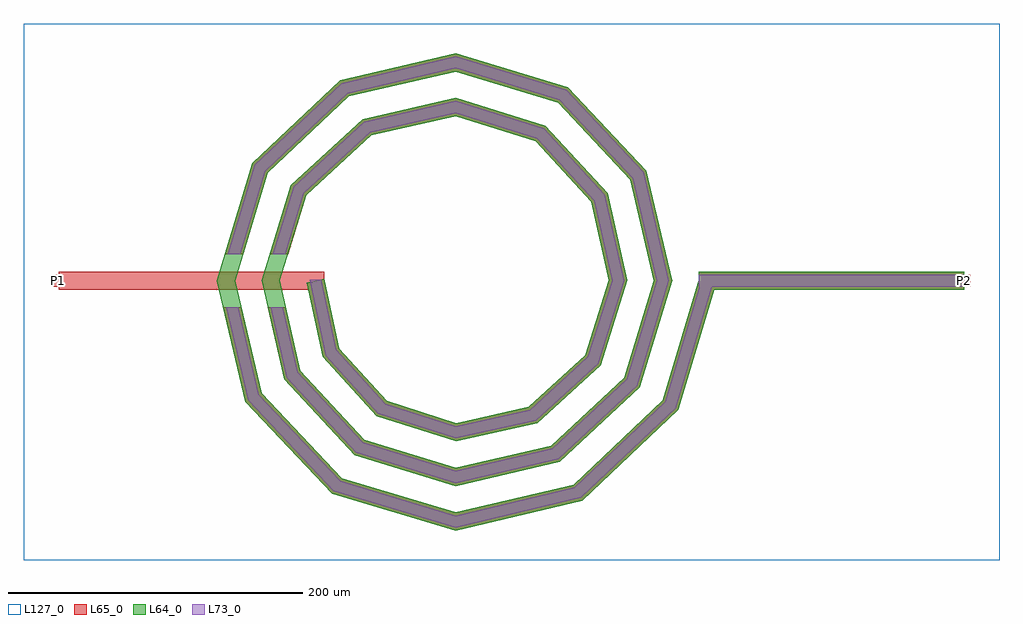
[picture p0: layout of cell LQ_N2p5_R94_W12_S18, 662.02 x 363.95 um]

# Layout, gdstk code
import gdstk
lib = gdstk.Library(unit=1e-6, precision=1e-09)
def R(c, l, rs):  # rectangles x0, y0, x1, y1
    for r in rs: c.add(gdstk.rectangle(r[:2], r[2:], *l))
def P(c, l, *ps):  # polygons
    for p in ps: c.add(gdstk.Polygon(p, *l))
L64_0 = (64, 0)
L65_0 = (65, 0)
L73_0 = (73, 0)
L127_0 = (127, 0)

lq_n2p5_r94_w12_s18 = lib.new_cell('LQ_N2p5_R94_W12_S18')
R(lq_n2p5_r94_w12_s18, L64_0, [(164.94,-6,344.94,6)])
P(lq_n2p5_r94_w12_s18, L64_0, [(-79.007,-45.961),(-46.712,-81.493),(0.285,-96.459),(49.735,-85.587),(88.052,-50.523),(104.045,0.266),(92.165,53.512),(54.331,94.612),(0.249,111.63),(-57.29,98.743),(-101.173,58.137),(-119.216,0.234),(-105.319,-61.07),(-61.942,-107.736),(0.22,-126.801),(64.852,-111.895),(114.299,-65.746),(134.387,0.208),(118.47,68.635),(69.548,120.863),(0.198,141.973),(-72.419,125.045),(-127.428,73.35),(-149.559,0.188),(-131.619,-76.204),(-77.15,-133.993),(0.179,-157.145),(79.99,-138.193),(140.558,-80.95),(165.19,1.713),(176.69,-1.713),(151.139,-87.461),(85.893,-149.125),(0.179,-169.564),(-83.675,-144.565),(-142.559,-82.093),(-161.977,0.188),(-137.991,79.89),(-78.291,135.994),(0.198,154.391),(76.105,131.416),(129.429,74.489),(146.804,0.208),(124.84,-72.322),(70.686,-122.864),(0.22,-139.218),(-68.539,-118.264),(-116.301,-66.882),(-131.631,0.234),(-111.687,64.758),(-63.076,109.738),(0.249,124.045),(60.978,105.109),(103.176,59.269),(116.458,0.266),(98.53,-57.2),(55.459,-96.615),(0.285,-108.871),(-53.424,-91.949),(-90.055,-51.647),(-100.944,-1.268),(-89.215,1.268)])
R(lq_n2p5_r94_w12_s18, L65_0, [(-269.079,-6,-89.079,6), (164.94,-6,344.94,6), (-273.079,-4,-265.079,4), (340.94,-4,348.94,4)])
P(lq_n2p5_r94_w12_s18, L65_0, [(-131.619,-76.204),(-77.15,-133.993),(0.179,-157.145),(79.99,-138.193),(140.558,-80.95),(165.19,1.713),(176.69,-1.713),(151.139,-87.461),(85.893,-149.125),(0.179,-169.564),(-83.675,-144.565),(-142.559,-82.093),(-157.685,-18),(-145.355,-18)],
  [(-105.319,-61.07),(-61.942,-107.736),(0.22,-126.801),(64.852,-111.895),(114.299,-65.746),(134.387,0.208),(118.47,68.635),(69.548,120.863),(0.198,141.973),(-72.419,125.045),(-127.428,73.35),(-144.085,18),(-156.617,18),(-137.991,79.89),(-78.292,135.994),(0.198,154.391),(76.105,131.416),(129.429,74.489),(146.805,0.208),(124.84,-72.322),(70.686,-122.865),(0.22,-139.218),(-68.539,-118.264),(-116.301,-66.882),(-127.467,-18),(-115.157,-18)],
  [(-46.712,-81.493),(0.285,-96.459),(49.735,-85.587),(88.052,-50.523),(104.045,0.266),(92.165,53.512),(54.331,94.612),(0.249,111.63),(-57.29,98.743),(-101.173,58.137),(-113.58,18),(-126.14,18),(-111.687,64.758),(-63.076,109.738),(0.249,124.045),(60.978,105.109),(103.176,59.269),(116.458,0.266),(98.53,-57.2),(55.459,-96.615),(0.285,-108.871),(-53.425,-91.949),(-90.055,-51.647),(-100.944,-1.268),(-89.215,1.268),(-79.007,-45.961)])
R(lq_n2p5_r94_w12_s18, L73_0, [(164.94,-4,344.94,4)])
P(lq_n2p5_r94_w12_s18, L73_0, [(-133.442,-77.186),(-78.238,-135.755),(0.12,-159.215),(80.974,-140.015),(142.322,-82.036),(167.107,1.142),(174.774,-1.142),(149.376,-86.376),(84.909,-147.303),(0.12,-167.494),(-82.588,-142.803),(-140.736,-81.111),(-155.63,-18),(-147.41,-18)],
  [(-107.149,-62.039),(-63.042,-109.49),(0.147,-128.871),(65.825,-113.723),(116.056,-66.842),(136.457,0.139),(120.297,69.611),(70.641,122.622),(0.132,144.043),(-73.398,126.87),(-129.188,74.44),(-146.174,18),(-154.528,18),(-136.23,78.8),(-77.313,134.169),(0.132,152.321),(75.012,129.657),(127.602,73.514),(144.735,0.139),(123.083,-71.226),(69.714,-121.036),(0.147,-137.149),(-67.44,-116.509),(-114.471,-65.913),(-125.415,-18),(-117.209,-18)],
  [(-47.831,-83.235),(0.19,-98.528),(50.689,-87.425),(89.798,-51.636),(106.114,0.177),(94,54.471),(55.439,96.361),(0.166,113.699),(-58.254,100.575),(-102.926,59.241),(-115.673,18),(-124.047,18),(-109.935,63.654),(-62.112,107.905),(0.166,121.976),(59.87,103.359),(101.341,58.309),(114.389,0.177),(96.783,-56.087),(54.505,-94.777),(0.19,-106.803),(-52.306,-90.206),(-88.214,-50.699),(-98.989,0.845),(-91.17,0.845),(-80.848,-46.909)])
R(lq_n2p5_r94_w12_s18, L127_0, [(-293.079,-189.564,368.94,174.391)])
lq_n2p5_r94_w12_s18.add(gdstk.Label('P2', (344.94,0), layer=65, texttype=0))
lq_n2p5_r94_w12_s18.add(gdstk.Label('P1', (-269.079,0), layer=65, texttype=0))
lq_n2p5_r94_w12_s18.add(gdstk.Label('P2', (348.94,0), layer=145, texttype=0))
lq_n2p5_r94_w12_s18.add(gdstk.Label('P1', (-273.079,0), layer=145, texttype=0))

lib.write_gds('LQ_N2p5_R94_W12_S18.gds')
